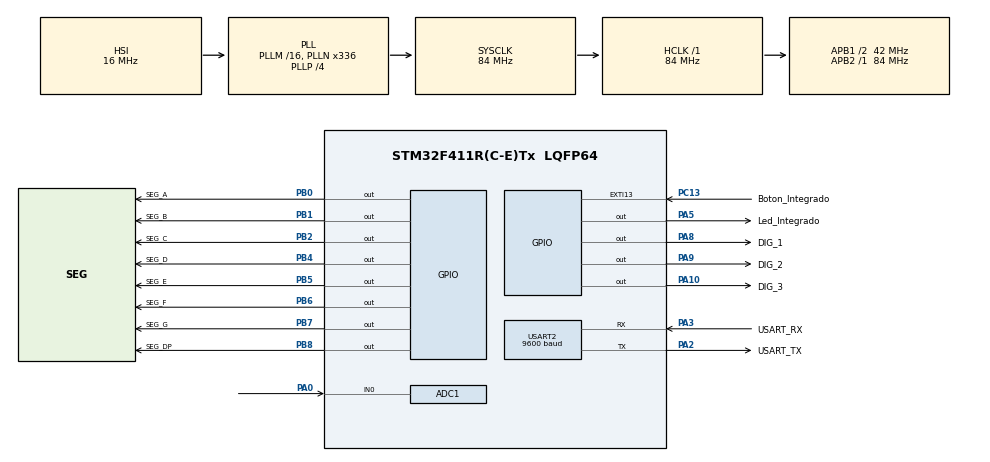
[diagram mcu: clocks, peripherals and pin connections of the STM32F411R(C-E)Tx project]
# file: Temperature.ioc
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ADC1.Channel-1\#ChannelRegularConversion=ADC_CHANNEL_0
ADC1.ContinuousConvMode=ENABLE
ADC1.DMAContinuousRequests=ENABLE
ADC1.NbrOfConversionFlag=1
ADC1.Rank-1\#ChannelRegularConversion=1
ADC1.SamplingTime-1\#ChannelRegularConversion=ADC_SAMPLETIME_3CYCLES
ADC1.master=1
Dma.ADC1.0.Direction=DMA_PERIPH_TO_MEMORY
Dma.ADC1.0.FIFOMode=DMA_FIFOMODE_DISABLE
Dma.ADC1.0.Instance=DMA2_Stream0
Dma.ADC1.0.MemDataAlignment=DMA_MDATAALIGN_WORD
Dma.ADC1.0.MemInc=DMA_MINC_ENABLE
Dma.ADC1.0.Mode=DMA_CIRCULAR
Dma.ADC1.0.PeriphDataAlignment=DMA_PDATAALIGN_WORD
Dma.ADC1.0.PeriphInc=DMA_PINC_DISABLE
Dma.ADC1.0.Priority=DMA_PRIORITY_LOW
Dma.Request0=ADC1
Mcu.Family=STM32F4
Mcu.Name=STM32F411R(C-E)Tx
Mcu.Package=LQFP64
NVIC.DMA2_Stream0_IRQn=true\:0\:0\:false\:false\:true\:false\:true\:true
NVIC.PriorityGroup=NVIC_PRIORITYGROUP_0
NVIC.USART2_IRQn=true\:0\:0\:false\:false\:true\:true\:true\:true
PA0-WKUP.Signal=ADCx_IN0
PA10.GPIO_Label=DIG_3
PA10.Signal=GPIO_Output
PA13.GPIO_Label=TMS
PA13.Mode=Serial_Wire
PA13.Signal=SYS_JTMS-SWDIO
PA14.GPIO_Label=TCK
PA14.Mode=Serial_Wire
PA14.Signal=SYS_JTCK-SWCLK
PA2.GPIO_Label=USART_TX
PA2.Mode=Asynchronous
PA2.Signal=USART2_TX
PA3.GPIO_Label=USART_RX
PA3.Mode=Asynchronous
PA3.Signal=USART2_RX
PA5.GPIO_Label=Led_Integrado
PA5.Signal=GPIO_Output
PA8.GPIO_Label=DIG_1
PA8.Signal=GPIO_Output
PA9.GPIO_Label=DIG_2
PA9.Signal=GPIO_Output
PB0.GPIO_Label=SEG_A
PB0.Signal=GPIO_Output
PB1.GPIO_Label=SEG_B
PB1.Signal=GPIO_Output
PB2.GPIO_Label=SEG_C
PB2.Signal=GPIO_Output
PB3.GPIO_Label=SWO
PB3.Signal=SYS_JTDO-SWO
PB4.GPIO_Label=SEG_D
PB4.Signal=GPIO_Output
PB5.GPIO_Label=SEG_E
PB5.Signal=GPIO_Output
PB6.GPIO_Label=SEG_F
PB6.Signal=GPIO_Output
PB7.GPIO_Label=SEG_G
PB7.Signal=GPIO_Output
PB8.GPIO_Label=SEG_DP
PB8.Signal=GPIO_Output
PC13-ANTI_TAMP.GPIO_Label=Boton_Integrado
PC13-ANTI_TAMP.GPIO_ModeDefaultEXTI=GPIO_MODE_IT_FALLING
PC13-ANTI_TAMP.Signal=GPXTI13
PC14-OSC32_IN.Mode=LSE-External-Oscillator
PC14-OSC32_IN.Signal=RCC_OSC32_IN
PC15-OSC32_OUT.Mode=LSE-External-Oscillator
PC15-OSC32_OUT.Signal=RCC_OSC32_OUT
PH0\ -\ OSC_IN.Mode=HSE-External-Clock-Source
PH0\ -\ OSC_IN.Signal=RCC_OSC_IN
PH1\ -\ OSC_OUT.Mode=HSE-External-Clock-Source
PH1\ -\ OSC_OUT.Signal=RCC_OSC_OUT
ProjectManager.HeapSize=0x200
ProjectManager.StackSize=0x400
ProjectManager.TargetToolchain=STM32CubeIDE
RCC.48MHZClocksFreq_Value=84000000
RCC.AHBFreq_Value=84000000
RCC.APB1CLKDivider=RCC_HCLK_DIV2
RCC.APB1Freq_Value=42000000
RCC.APB1TimFreq_Value=84000000
RCC.APB2Freq_Value=84000000
RCC.APB2TimFreq_Value=84000000
RCC.CortexFreq_Value=84000000
RCC.FLatency-AdvancedSettings=FLASH_LATENCY_2
RCC.HCLKFreq_Value=84000000
RCC.HSE_VALUE=8000000
RCC.HSI_VALUE=16000000
RCC.PLLN=336
RCC.PLLP=RCC_PLLP_DIV4
RCC.SYSCLKFreq_VALUE=84000000
RCC.SYSCLKSource=RCC_SYSCLKSOURCE_PLLCLK
RCC.VCOOutputFreq_Value=336000000
SH.ADCx_IN0.0=ADC1_IN0,IN0
USART2.BaudRate=9600
USART2.VirtualMode=VM_ASYNC
board=NUCLEO-F411RE

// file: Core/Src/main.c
/* USER CODE BEGIN Header */
/**
  ******************************************************************************
  * @file           : main.c
  * @brief          : Main program body
  ******************************************************************************
  * @attention
  *
  * Copyright (c) 2024 STMicroelectronics.
  * All rights reserved.
  *
  * This software is licensed under terms that can be found in the LICENSE file
  * in the root directory of this software component.
  * If no LICENSE file comes with this software, it is provided AS-IS.
  *
  ******************************************************************************
  */
/* USER CODE END Header */
#include "main.h"

/* USER CODE BEGIN Includes */
#include <stdio.h>
#include <string.h>
#include <stdint.h>
/* USER CODE END Includes */

ADC_HandleTypeDef hadc1;
DMA_HandleTypeDef hdma_adc1;

UART_HandleTypeDef huart2;

/* USER CODE BEGIN PV */
uint32_t LM35;
uint8_t dataTX[32];
int count = 0;
int temperature;
int centenas, decenas, unidades;
/* USER CODE END PV */

void SystemClock_Config(void);
static void MX_GPIO_Init(void);
static void MX_DMA_Init(void);
static void MX_USART2_UART_Init(void);
static void MX_ADC1_Init(void);
static void cero(void);
static void uno(void);
static void dos(void);
static void tres(void);
static void cuatro(void);
static void cinco(void);
static void seis(void);
static void siete(void);
static void ocho(void);
static void nueve(void);

int main(void)
{

  /* MCU Configuration--------------------------------------------------------*/

  /* Reset of all peripherals, Initializes the Flash interface and the Systick. */
  HAL_Init();

  /* Configure the system clock */
  SystemClock_Config();

  /* Initialize all configured peripherals */
  MX_GPIO_Init();
  MX_DMA_Init();
  MX_USART2_UART_Init();
  MX_ADC1_Init();
  /* USER CODE BEGIN 2 */
  HAL_ADC_Start_DMA(&hadc1, &LM35, 1);
  /* USER CODE END 2 */

  /* Infinite loop */
  while (1)
  {

	  //temperature = LM35 * 0.08058;
	  centenas = LM35 / 100;
	  decenas = (LM35 / 10) % 10;
	  unidades = LM35 % 10;

	  HAL_GPIO_WritePin(DIG_1_GPIO_Port, DIG_1_Pin, RESET);
	  HAL_GPIO_WritePin(DIG_2_GPIO_Port, DIG_1_Pin, SET);
	  HAL_GPIO_WritePin(DIG_3_GPIO_Port, DIG_1_Pin, SET);
	  switch(unidades){
	  case 0:
		  cero();
		  break;
	  case 1:
		  uno();
		  break;
	  case 2:
		  dos();
		  break;
	  case 3:
		  tres();
		  break;
	  case 4:
		  cuatro();
		  break;
	  case 5:
	  	  cinco();
	  	break;
	  case 6:
	  	  seis();
	  	break;
	  case 7:
		  siete();
		  break;
	  case 8:
		  ocho();
		  break;
	  case 9:
		  nueve();
		  break;
	  default:
		  cero();
	  }
	  HAL_Delay(10);

	  HAL_GPIO_WritePin(DIG_1_GPIO_Port, DIG_1_Pin, SET);
	  HAL_GPIO_WritePin(DIG_2_GPIO_Port, DIG_1_Pin, RESET);
	  HAL_GPIO_WritePin(DIG_3_GPIO_Port, DIG_1_Pin, SET);
	  switch(decenas){
	  case 0:
		  cero();
		  break;
	  case 1:
		  uno();
		  break;
	  case 2:
		  dos();
		  break;
	  case 3:
		  tres();
		  break;
	  case 4:
		  cuatro();
		  break;
	  case 5:
		  cinco();
		break;
	  case 6:
		  seis();
		break;
	  case 7:
		  siete();
		  break;
	  case 8:
		  ocho();
		  break;
	  case 9:
		  nueve();
		  break;
	  default:
		  cero();
	  }
	  HAL_Delay(10);

	  HAL_GPIO_WritePin(DIG_1_GPIO_Port, DIG_1_Pin, SET);
	  HAL_GPIO_WritePin(DIG_2_GPIO_Port, DIG_1_Pin, SET);
	  HAL_GPIO_WritePin(DIG_3_GPIO_Port, DIG_1_Pin, RESET);
	  switch(centenas){
	  case 0:
		  cero();
		  break;
	  case 1:
		  uno();
		  break;
	  case 2:
		  dos();
		  break;
	  case 3:
		  tres();
		  break;
	  case 4:
		  cuatro();
		  break;
	  case 5:
		  cinco();
		break;
	  case 6:
		  seis();
		break;
	  case 7:
		  siete();
		  break;
	  case 8:
		  ocho();
		  break;
	  case 9:
		  nueve();
		  break;
	  default:
		  cero();
	  }
	  HAL_Delay(10);
  }
}

void SystemClock_Config(void)
{
  RCC_OscInitTypeDef RCC_OscInitStruct = {0};
  RCC_ClkInitTypeDef RCC_ClkInitStruct = {0};

  /** Configure the main internal regulator output voltage
  */
  __HAL_RCC_PWR_CLK_ENABLE();
  __HAL_PWR_VOLTAGESCALING_CONFIG(PWR_REGULATOR_VOLTAGE_SCALE1);

  /** Initializes the RCC Oscillators according to the specified parameters
  * in the RCC_OscInitTypeDef structure.
  */
  RCC_OscInitStruct.OscillatorType = RCC_OSCILLATORTYPE_HSI;
  RCC_OscInitStruct.HSIState = RCC_HSI_ON;
  RCC_OscInitStruct.HSICalibrationValue = RCC_HSICALIBRATION_DEFAULT;
  RCC_OscInitStruct.PLL.PLLState = RCC_PLL_ON;
  RCC_OscInitStruct.PLL.PLLSource = RCC_PLLSOURCE_HSI;
  RCC_OscInitStruct.PLL.PLLM = 16;
  RCC_OscInitStruct.PLL.PLLN = 336;
  RCC_OscInitStruct.PLL.PLLP = RCC_PLLP_DIV4;
  RCC_OscInitStruct.PLL.PLLQ = 4;
  if (HAL_RCC_OscConfig(&RCC_OscInitStruct) != HAL_OK)
  {
    Error_Handler();
  }

  /** Initializes the CPU, AHB and APB buses clocks
  */
  RCC_ClkInitStruct.ClockType = RCC_CLOCKTYPE_HCLK|RCC_CLOCKTYPE_SYSCLK
                              |RCC_CLOCKTYPE_PCLK1|RCC_CLOCKTYPE_PCLK2;
  RCC_ClkInitStruct.SYSCLKSource = RCC_SYSCLKSOURCE_PLLCLK;
  RCC_ClkInitStruct.AHBCLKDivider = RCC_SYSCLK_DIV1;
  RCC_ClkInitStruct.APB1CLKDivider = RCC_HCLK_DIV2;
  RCC_ClkInitStruct.APB2CLKDivider = RCC_HCLK_DIV1;

  if (HAL_RCC_ClockConfig(&RCC_ClkInitStruct, FLASH_LATENCY_2) != HAL_OK)
  {
    Error_Handler();
  }
}

static void MX_ADC1_Init(void)
{

  ADC_ChannelConfTypeDef sConfig = {0};

  /** Configure the global features of the ADC (Clock, Resolution, Data Alignment and number of conversion)
  */
  hadc1.Instance = ADC1;
  hadc1.Init.ClockPrescaler = ADC_CLOCK_SYNC_PCLK_DIV4;
  hadc1.Init.Resolution = ADC_RESOLUTION_12B;
  hadc1.Init.ScanConvMode = DISABLE;
  hadc1.Init.ContinuousConvMode = ENABLE;
  hadc1.Init.DiscontinuousConvMode = DISABLE;
  hadc1.Init.ExternalTrigConvEdge = ADC_EXTERNALTRIGCONVEDGE_NONE;
  hadc1.Init.ExternalTrigConv = ADC_SOFTWARE_START;
  hadc1.Init.DataAlign = ADC_DATAALIGN_RIGHT;
  hadc1.Init.NbrOfConversion = 1;
  hadc1.Init.DMAContinuousRequests = ENABLE;
  hadc1.Init.EOCSelection = ADC_EOC_SINGLE_CONV;
  if (HAL_ADC_Init(&hadc1) != HAL_OK)
  {
    Error_Handler();
  }

  /** Configure for the selected ADC regular channel its corresponding rank in the sequencer and its sample time.
  */
  sConfig.Channel = ADC_CHANNEL_0;
  sConfig.Rank = 1;
  sConfig.SamplingTime = ADC_SAMPLETIME_3CYCLES;
  if (HAL_ADC_ConfigChannel(&hadc1, &sConfig) != HAL_OK)
  {
    Error_Handler();
  }

}

static void MX_USART2_UART_Init(void)
{

  huart2.Instance = USART2;
  huart2.Init.BaudRate = 9600;
  huart2.Init.WordLength = UART_WORDLENGTH_8B;
  huart2.Init.StopBits = UART_STOPBITS_1;
  huart2.Init.Parity = UART_PARITY_NONE;
  huart2.Init.Mode = UART_MODE_TX_RX;
  huart2.Init.HwFlowCtl = UART_HWCONTROL_NONE;
  huart2.Init.OverSampling = UART_OVERSAMPLING_16;
  if (HAL_UART_Init(&huart2) != HAL_OK)
  {
    Error_Handler();
  }

}

static void MX_DMA_Init(void)
{

  /* DMA controller clock enable */
  __HAL_RCC_DMA2_CLK_ENABLE();

  /* DMA interrupt init */
  /* DMA2_Stream0_IRQn interrupt configuration */
  HAL_NVIC_SetPriority(DMA2_Stream0_IRQn, 0, 0);
  HAL_NVIC_EnableIRQ(DMA2_Stream0_IRQn);

}

static void MX_GPIO_Init(void)
{
  GPIO_InitTypeDef GPIO_InitStruct = {0};

  /* GPIO Ports Clock Enable */
  __HAL_RCC_GPIOC_CLK_ENABLE();
  __HAL_RCC_GPIOH_CLK_ENABLE();
  __HAL_RCC_GPIOA_CLK_ENABLE();
  __HAL_RCC_GPIOB_CLK_ENABLE();

  /*Configure GPIO pin Output Level */
  HAL_GPIO_WritePin(GPIOA, Led_Integrado_Pin|DIG_1_Pin|DIG_2_Pin|DIG_3_Pin, GPIO_PIN_RESET);

  /*Configure GPIO pin Output Level */
  HAL_GPIO_WritePin(GPIOB, SEG_A_Pin|SEG_B_Pin|SEG_C_Pin|SEG_D_Pin
                          |SEG_E_Pin|SEG_F_Pin|SEG_G_Pin|SEG_DP_Pin, GPIO_PIN_RESET);

  /*Configure GPIO pin : Boton_Integrado_Pin */
  GPIO_InitStruct.Pin = Boton_Integrado_Pin;
  GPIO_InitStruct.Mode = GPIO_MODE_IT_FALLING;
  GPIO_InitStruct.Pull = GPIO_NOPULL;
  HAL_GPIO_Init(Boton_Integrado_GPIO_Port, &GPIO_InitStruct);

  /*Configure GPIO pins : Led_Integrado_Pin DIG_1_Pin DIG_2_Pin DIG_3_Pin */
  GPIO_InitStruct.Pin = Led_Integrado_Pin|DIG_1_Pin|DIG_2_Pin|DIG_3_Pin;
  GPIO_InitStruct.Mode = GPIO_MODE_OUTPUT_PP;
  GPIO_InitStruct.Pull = GPIO_NOPULL;
  GPIO_InitStruct.Speed = GPIO_SPEED_FREQ_LOW;
  HAL_GPIO_Init(GPIOA, &GPIO_InitStruct);

  /*Configure GPIO pins : SEG_A_Pin SEG_B_Pin SEG_C_Pin SEG_D_Pin
                           SEG_E_Pin SEG_F_Pin SEG_G_Pin SEG_DP_Pin */
  GPIO_InitStruct.Pin = SEG_A_Pin|SEG_B_Pin|SEG_C_Pin|SEG_D_Pin
                          |SEG_E_Pin|SEG_F_Pin|SEG_G_Pin|SEG_DP_Pin;
  GPIO_InitStruct.Mode = GPIO_MODE_OUTPUT_PP;
  GPIO_InitStruct.Pull = GPIO_NOPULL;
  GPIO_InitStruct.Speed = GPIO_SPEED_FREQ_LOW;
  HAL_GPIO_Init(GPIOB, &GPIO_InitStruct);

}

/* USER CODE BEGIN 4 */
static void uno(void){
	HAL_GPIO_WritePin(SEG_A_GPIO_Port, SEG_A_Pin, RESET); //a
	HAL_GPIO_WritePin(SEG_B_GPIO_Port, SEG_B_Pin, SET);   //b
	HAL_GPIO_WritePin(SEG_C_GPIO_Port, SEG_C_Pin, SET);   //c
	HAL_GPIO_WritePin(SEG_D_GPIO_Port, SEG_D_Pin, RESET); //d
	HAL_GPIO_WritePin(SEG_E_GPIO_Port, SEG_E_Pin, RESET); //e
	HAL_GPIO_WritePin(SEG_F_GPIO_Port, SEG_F_Pin, RESET); //f
	HAL_GPIO_WritePin(SEG_G_GPIO_Port, SEG_G_Pin, RESET); //g
}

static void dos(void){
	HAL_GPIO_WritePin(SEG_A_GPIO_Port, SEG_A_Pin, SET); //a
	HAL_GPIO_WritePin(SEG_B_GPIO_Port, SEG_B_Pin, SET);   //b
	HAL_GPIO_WritePin(SEG_C_GPIO_Port, SEG_C_Pin, RESET);   //c
	HAL_GPIO_WritePin(SEG_D_GPIO_Port, SEG_D_Pin, SET); //d
	HAL_GPIO_WritePin(SEG_E_GPIO_Port, SEG_E_Pin, SET); //e
	HAL_GPIO_WritePin(SEG_F_GPIO_Port, SEG_F_Pin, RESET); //f
	HAL_GPIO_WritePin(SEG_G_GPIO_Port, SEG_G_Pin, SET); //g
}

static void tres(void){
	HAL_GPIO_WritePin(SEG_A_GPIO_Port, SEG_A_Pin, SET); //a
	HAL_GPIO_WritePin(SEG_B_GPIO_Port, SEG_B_Pin, SET);   //b
	HAL_GPIO_WritePin(SEG_C_GPIO_Port, SEG_C_Pin, SET);   //c
	HAL_GPIO_WritePin(SEG_D_GPIO_Port, SEG_D_Pin, SET); //d
	HAL_GPIO_WritePin(SEG_E_GPIO_Port, SEG_E_Pin, RESET); //e
	HAL_GPIO_WritePin(SEG_F_GPIO_Port, SEG_F_Pin, RESET); //f
	HAL_GPIO_WritePin(SEG_G_GPIO_Port, SEG_G_Pin, SET); //g
}

static void cuatro(void){
	HAL_GPIO_WritePin(SEG_A_GPIO_Port, SEG_A_Pin, RESET); //a
	HAL_GPIO_WritePin(SEG_B_GPIO_Port, SEG_B_Pin, RESET);   //b
	HAL_GPIO_WritePin(SEG_C_GPIO_Port, SEG_C_Pin, SET);   //c
	HAL_GPIO_WritePin(SEG_D_GPIO_Port, SEG_D_Pin, SET); //d
	HAL_GPIO_WritePin(SEG_E_GPIO_Port, SEG_E_Pin, RESET); //e
	HAL_GPIO_WritePin(SEG_F_GPIO_Port, SEG_F_Pin, SET); //f
	HAL_GPIO_WritePin(SEG_G_GPIO_Port, SEG_G_Pin, SET); //g
}

static void cinco(void){
	HAL_GPIO_WritePin(SEG_A_GPIO_Port, SEG_A_Pin, SET); //a
	HAL_GPIO_WritePin(SEG_B_GPIO_Port, SEG_B_Pin, RESET);   //b
	HAL_GPIO_WritePin(SEG_C_GPIO_Port, SEG_C_Pin, SET);   //c
	HAL_GPIO_WritePin(SEG_D_GPIO_Port, SEG_D_Pin, SET); //d
	HAL_GPIO_WritePin(SEG_E_GPIO_Port, SEG_E_Pin, RESET); //e
	HAL_GPIO_WritePin(SEG_F_GPIO_Port, SEG_F_Pin, SET); //f
	HAL_GPIO_WritePin(SEG_G_GPIO_Port, SEG_G_Pin, SET); //g
}

static void seis(void){
	HAL_GPIO_WritePin(SEG_A_GPIO_Port, SEG_A_Pin, SET); //a
	HAL_GPIO_WritePin(SEG_B_GPIO_Port, SEG_B_Pin, RESET);   //b
	HAL_GPIO_WritePin(SEG_C_GPIO_Port, SEG_C_Pin, SET);   //c
	HAL_GPIO_WritePin(SEG_D_GPIO_Port, SEG_D_Pin, SET); //d
	HAL_GPIO_WritePin(SEG_E_GPIO_Port, SEG_E_Pin, SET); //e
	HAL_GPIO_WritePin(SEG_F_GPIO_Port, SEG_F_Pin, SET); //f
	HAL_GPIO_WritePin(SEG_G_GPIO_Port, SEG_G_Pin, SET); //g
}

static void siete(void){
	HAL_GPIO_WritePin(SEG_A_GPIO_Port, SEG_A_Pin, SET); //a
	HAL_GPIO_WritePin(SEG_B_GPIO_Port, SEG_B_Pin, SET);   //b
	HAL_GPIO_WritePin(SEG_C_GPIO_Port, SEG_C_Pin, SET);   //c
	HAL_GPIO_WritePin(SEG_D_GPIO_Port, SEG_D_Pin, RESET); //d
	HAL_GPIO_WritePin(SEG_E_GPIO_Port, SEG_E_Pin, RESET); //e
	HAL_GPIO_WritePin(SEG_F_GPIO_Port, SEG_F_Pin, RESET); //f
	HAL_GPIO_WritePin(SEG_G_GPIO_Port, SEG_G_Pin, RESET); //g
}

static void ocho(void){
	HAL_GPIO_WritePin(SEG_A_GPIO_Port, SEG_A_Pin, SET); //a
	HAL_GPIO_WritePin(SEG_B_GPIO_Port, SEG_B_Pin, SET);   //b
	HAL_GPIO_WritePin(SEG_C_GPIO_Port, SEG_C_Pin, SET);   //c
	HAL_GPIO_WritePin(SEG_D_GPIO_Port, SEG_D_Pin, SET); //d
	HAL_GPIO_WritePin(SEG_E_GPIO_Port, SEG_E_Pin, SET); //e
	HAL_GPIO_WritePin(SEG_F_GPIO_Port, SEG_F_Pin, SET); //f
	HAL_GPIO_WritePin(SEG_G_GPIO_Port, SEG_G_Pin, SET); //g
}

static void nueve(void){
	HAL_GPIO_WritePin(SEG_A_GPIO_Port, SEG_A_Pin, SET); //a
	HAL_GPIO_WritePin(SEG_B_GPIO_Port, SEG_B_Pin, SET);   //b
	HAL_GPIO_WritePin(SEG_C_GPIO_Port, SEG_C_Pin, SET);   //c
	HAL_GPIO_WritePin(SEG_D_GPIO_Port, SEG_D_Pin, RESET); //d
	HAL_GPIO_WritePin(SEG_E_GPIO_Port, SEG_E_Pin, RESET); //e
	HAL_GPIO_WritePin(SEG_F_GPIO_Port, SEG_F_Pin, SET); //f
	HAL_GPIO_WritePin(SEG_G_GPIO_Port, SEG_G_Pin, SET); //g
}

static void cero(void){
	HAL_GPIO_WritePin(SEG_A_GPIO_Port, SEG_A_Pin, SET); //a
	HAL_GPIO_WritePin(SEG_B_GPIO_Port, SEG_B_Pin, SET);   //b
	HAL_GPIO_WritePin(SEG_C_GPIO_Port, SEG_C_Pin, SET);   //c
	HAL_GPIO_WritePin(SEG_D_GPIO_Port, SEG_D_Pin, SET); //d
	HAL_GPIO_WritePin(SEG_E_GPIO_Port, SEG_E_Pin, SET); //e
	HAL_GPIO_WritePin(SEG_F_GPIO_Port, SEG_F_Pin, SET); //f
	HAL_GPIO_WritePin(SEG_G_GPIO_Port, SEG_G_Pin, RESET); //g
}

/* USER CODE END 4 */

void Error_Handler(void)
{
  __disable_irq();
  while (1)
  {
  }
}
